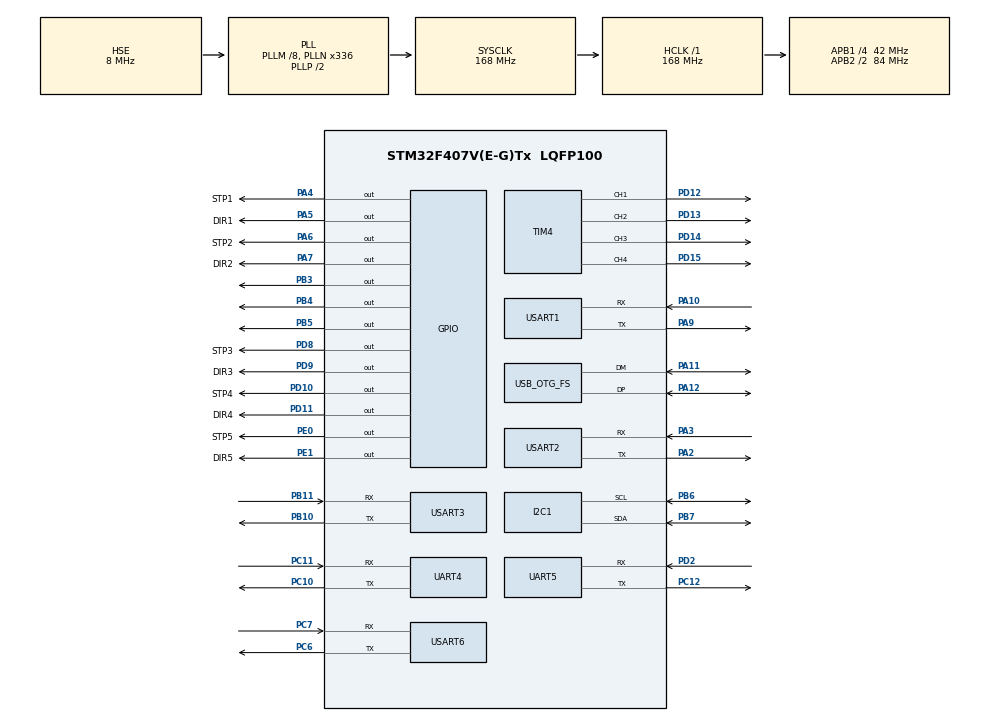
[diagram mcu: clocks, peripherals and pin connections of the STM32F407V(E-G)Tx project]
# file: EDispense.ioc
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Dma.Request0=USART1_RX
Dma.Request1=USART1_TX
Dma.Request2=USART6_RX
Dma.Request3=USART6_TX
Dma.USART1_RX.0.Direction=DMA_PERIPH_TO_MEMORY
Dma.USART1_RX.0.FIFOMode=DMA_FIFOMODE_DISABLE
Dma.USART1_RX.0.Instance=DMA2_Stream2
Dma.USART1_RX.0.MemDataAlignment=DMA_MDATAALIGN_BYTE
Dma.USART1_RX.0.MemInc=DMA_MINC_ENABLE
Dma.USART1_RX.0.Mode=DMA_NORMAL
Dma.USART1_RX.0.PeriphDataAlignment=DMA_PDATAALIGN_BYTE
Dma.USART1_RX.0.PeriphInc=DMA_PINC_DISABLE
Dma.USART1_RX.0.Priority=DMA_PRIORITY_LOW
Dma.USART1_TX.1.Direction=DMA_MEMORY_TO_PERIPH
Dma.USART1_TX.1.FIFOMode=DMA_FIFOMODE_DISABLE
Dma.USART1_TX.1.Instance=DMA2_Stream7
Dma.USART1_TX.1.MemDataAlignment=DMA_MDATAALIGN_BYTE
Dma.USART1_TX.1.MemInc=DMA_MINC_ENABLE
Dma.USART1_TX.1.Mode=DMA_NORMAL
Dma.USART1_TX.1.PeriphDataAlignment=DMA_PDATAALIGN_BYTE
Dma.USART1_TX.1.PeriphInc=DMA_PINC_DISABLE
Dma.USART1_TX.1.Priority=DMA_PRIORITY_LOW
Dma.USART6_RX.2.Direction=DMA_PERIPH_TO_MEMORY
Dma.USART6_RX.2.FIFOMode=DMA_FIFOMODE_DISABLE
Dma.USART6_RX.2.Instance=DMA2_Stream1
Dma.USART6_RX.2.MemDataAlignment=DMA_MDATAALIGN_BYTE
Dma.USART6_RX.2.MemInc=DMA_MINC_ENABLE
Dma.USART6_RX.2.Mode=DMA_NORMAL
Dma.USART6_RX.2.PeriphDataAlignment=DMA_PDATAALIGN_BYTE
Dma.USART6_RX.2.PeriphInc=DMA_PINC_DISABLE
Dma.USART6_RX.2.Priority=DMA_PRIORITY_LOW
Dma.USART6_TX.3.Direction=DMA_MEMORY_TO_PERIPH
Dma.USART6_TX.3.FIFOMode=DMA_FIFOMODE_DISABLE
Dma.USART6_TX.3.Instance=DMA2_Stream6
Dma.USART6_TX.3.MemDataAlignment=DMA_MDATAALIGN_BYTE
Dma.USART6_TX.3.MemInc=DMA_MINC_ENABLE
Dma.USART6_TX.3.Mode=DMA_NORMAL
Dma.USART6_TX.3.PeriphDataAlignment=DMA_PDATAALIGN_BYTE
Dma.USART6_TX.3.PeriphInc=DMA_PINC_DISABLE
Dma.USART6_TX.3.Priority=DMA_PRIORITY_LOW
FREERTOS.Queues01=CoreXY_Queue,4,uint16_t,0,Dynamic,NULL,NULL
FREERTOS.Tasks01=Task_UI,0,512,StartDefaultTask,Default,NULL,Dynamic,NULL,NULL;Task_CoreXY,-3,256,StartTask02,Default,NULL,Dynamic,NULL,NULL;TASK_Z_Axis,-3,128,StartTask03,Default,NULL,Dynamic,NULL,NULL;Task_Squeeze,-3,128,StartTask04,Default,NULL,Dynamic,NULL,NULL
Mcu.Family=STM32F4
Mcu.Name=STM32F407V(E-G)Tx
Mcu.Package=LQFP100
NVIC.DMA2_Stream1_IRQn=true\:5\:0\:false\:false\:true\:true\:false\:true\:true
NVIC.DMA2_Stream2_IRQn=true\:5\:0\:false\:false\:true\:true\:false\:true\:true
NVIC.DMA2_Stream6_IRQn=true\:5\:0\:false\:false\:true\:true\:false\:true\:true
NVIC.DMA2_Stream7_IRQn=true\:5\:0\:false\:false\:true\:true\:false\:true\:true
NVIC.OTG_FS_IRQn=true\:5\:0\:false\:false\:true\:true\:false\:true\:true
NVIC.PriorityGroup=NVIC_PRIORITYGROUP_4
NVIC.TIM6_DAC_IRQn=true\:15\:0\:false\:false\:true\:false\:false\:true\:true
NVIC.TIM8_CC_IRQn=true\:5\:0\:false\:false\:true\:true\:true\:true\:true
NVIC.TimeBase=TIM6_DAC_IRQn
NVIC.TimeBaseIP=TIM6
NVIC.USART1_IRQn=true\:5\:0\:false\:false\:true\:true\:true\:true\:true
NVIC.USART2_IRQn=true\:5\:0\:false\:false\:true\:true\:true\:true\:true
PA10.Mode=Asynchronous
PA10.Signal=USART1_RX
PA11.Mode=Device_Only
PA11.Signal=USB_OTG_FS_DM
PA12.Mode=Device_Only
PA12.Signal=USB_OTG_FS_DP
PA13.Mode=Serial_Wire
PA13.Signal=SYS_JTMS-SWDIO
PA14.Mode=Serial_Wire
PA14.Signal=SYS_JTCK-SWCLK
PA2.Mode=Asynchronous
PA2.Signal=USART2_TX
PA3.Mode=Asynchronous
PA3.Signal=USART2_RX
PA4.GPIO_Label=STP1
PA4.Signal=GPIO_Output
PA5.GPIO_Label=DIR1
PA5.Signal=GPIO_Output
PA6.GPIO_Label=STP2
PA6.Signal=GPIO_Output
PA7.GPIO_Label=DIR2
PA7.Signal=GPIO_Output
PA9.Mode=Asynchronous
PA9.Signal=USART1_TX
PB10.Mode=Asynchronous
PB10.Signal=USART3_TX
PB11.Mode=Asynchronous
PB11.Signal=USART3_RX
PB3.Signal=GPIO_Output
PB4.Signal=GPIO_Output
PB5.Signal=GPIO_Output
PB6.Mode=I2C
PB6.Signal=I2C1_SCL
PB7.Mode=I2C
PB7.Signal=I2C1_SDA
PC10.Mode=Asynchronous
PC10.Signal=UART4_TX
PC11.Mode=Asynchronous
PC11.Signal=UART4_RX
PC12.Mode=Asynchronous
PC12.Signal=UART5_TX
PC6.Mode=Asynchronous
PC6.Signal=USART6_TX
PC7.Mode=Asynchronous
PC7.Signal=USART6_RX
PD10.GPIO_Label=STP4
PD10.Signal=GPIO_Output
PD11.GPIO_Label=DIR4
PD11.Signal=GPIO_Output
PD12.Signal=S_TIM4_CH1
PD13.Signal=S_TIM4_CH2
PD14.Signal=S_TIM4_CH3
PD15.Signal=S_TIM4_CH4
PD2.Mode=Asynchronous
PD2.Signal=UART5_RX
PD8.GPIO_Label=STP3
PD8.Signal=GPIO_Output
PD9.GPIO_Label=DIR3
PD9.Signal=GPIO_Output
PE0.GPIO_Label=STP5
PE0.Signal=GPIO_Output
PE1.GPIO_Label=DIR5
PE1.Signal=GPIO_Output
PH0-OSC_IN.Mode=HSE-External-Oscillator
PH0-OSC_IN.Signal=RCC_OSC_IN
PH1-OSC_OUT.Mode=HSE-External-Oscillator
PH1-OSC_OUT.Signal=RCC_OSC_OUT
ProjectManager.HeapSize=0x200
ProjectManager.StackSize=0x400
ProjectManager.TargetToolchain=CMake
RCC.48MHZClocksFreq_Value=48000000
RCC.AHBFreq_Value=168000000
RCC.APB1CLKDivider=RCC_HCLK_DIV4
RCC.APB1Freq_Value=42000000
RCC.APB1TimFreq_Value=84000000
RCC.APB2CLKDivider=RCC_HCLK_DIV2
RCC.APB2Freq_Value=84000000
RCC.APB2TimFreq_Value=168000000
RCC.CortexFreq_Value=168000000
RCC.HCLKFreq_Value=168000000
RCC.HSE_VALUE=8000000
RCC.HSI_VALUE=16000000
RCC.LSE_VALUE=32768
RCC.PLLM=8
RCC.PLLN=336
RCC.PLLQ=7
RCC.SYSCLKFreq_VALUE=168000000
RCC.SYSCLKSource=RCC_SYSCLKSOURCE_PLLCLK
RCC.VCOOutputFreq_Value=336000000
SH.S_TIM4_CH1.0=TIM4_CH1,PWM Generation1 CH1
SH.S_TIM4_CH2.0=TIM4_CH2,PWM Generation2 CH2
SH.S_TIM4_CH3.0=TIM4_CH3,PWM Generation3 CH3
SH.S_TIM4_CH4.0=TIM4_CH4,PWM Generation4 CH4
TIM10.Channel=TIM_CHANNEL_1
TIM10.Prescaler=168-1
TIM4.Channel-PWM\ Generation1\ CH1=TIM_CHANNEL_1
TIM4.Channel-PWM\ Generation2\ CH2=TIM_CHANNEL_2
TIM4.Channel-PWM\ Generation3\ CH3=TIM_CHANNEL_3
TIM4.Channel-PWM\ Generation4\ CH4=TIM_CHANNEL_4
TIM8.Channel-Output\ Compare1\ No\ Output=TIM_CHANNEL_1
TIM8.Channel-Output\ Compare2\ No\ Output=TIM_CHANNEL_2
TIM8.Channel-Output\ Compare3\ No\ Output=TIM_CHANNEL_3
TIM8.Channel-Output\ Compare4\ No\ Output=TIM_CHANNEL_4
TIM8.Prescaler=168-1
UART4.VirtualMode=Asynchronous
UART5.VirtualMode=Asynchronous
USART1.VirtualMode=VM_ASYNC
USART2.VirtualMode=VM_ASYNC
USART3.VirtualMode=VM_ASYNC
USART6.VirtualMode=VM_ASYNC
USB_DEVICE.CLASS_NAME_FS=CDC
USB_DEVICE.VirtualMode-CDC_FS=Cdc
USB_DEVICE.VirtualModeFS=Cdc_FS
USB_OTG_FS.VirtualMode=Device_Only
VP_FREERTOS_VS_CMSIS_V1.Mode=CMSIS_V1
VP_SYS_VS_tim6.Mode=TIM6
VP_TIM10_VS_ClockSourceINT.Mode=Enable_Timer
VP_TIM10_VS_no_output1.Mode=Output Compare1 No Output
VP_TIM8_VS_no_output1.Mode=Output Compare1 No Output
VP_TIM8_VS_no_output2.Mode=Output Compare2 No Output
VP_TIM8_VS_no_output3.Mode=Output Compare3 No Output
VP_TIM8_VS_no_output4.Mode=Output Compare4 No Output
VP_USB_DEVICE_VS_USB_DEVICE_CDC_FS.Mode=CDC_FS
board=custom

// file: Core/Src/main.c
/* USER CODE BEGIN Header */
/**
  ******************************************************************************
  * @file           : main.c
  * @brief          : Main program body
  ******************************************************************************
  * @attention
  *
  * Copyright (c) 2026 STMicroelectronics.
  * All rights reserved.
  *
  * This software is licensed under terms that can be found in the LICENSE file
  * in the root directory of this software component.
  * If no LICENSE file comes with this software, it is provided AS-IS.
  *
  ******************************************************************************
  */
/* USER CODE END Header */
#include "main.h"
#include "cmsis_os.h"
#include "dma.h"
#include "i2c.h"
#include "tim.h"
#include "usart.h"
#include "usb_device.h"
#include "gpio.h"

/* USER CODE BEGIN Includes */
#include "usbd_cdc_if.h"
#include "Stepper.h"
#include "TJC.h"        // 串口屏
#include <stdio.h>      // sscanf
#include <string.h>
#include <stdlib.h>     // atoi 函数解析激光距离
/* USER CODE END Includes */

/* USER CODE BEGIN PD */
#define one_div_sqrt_2 0.7071067811865f   // 1/根号2
/* USER CODE END PD */

/* USER CODE BEGIN PV */
Stepper stepper1 = {0}; // X轴电机
Stepper stepper2 = {0}; // Y轴电机
Stepper stepper3 = {0}; // Z轴电机
Stepper stepper4 = {0}; // 挤锡电机
Stepper stepper5 = {0}; // 预留
uint8_t RxBuffer[50] = {0}; // 串口屏不定长数据缓冲区
uint8_t RxBuffer2[50] = {0}; // RK3588不定长数据缓冲区
extern DMA_HandleTypeDef hdma_usart1_rx; // DMA 句柄
extern DMA_HandleTypeDef hdma_usart2_rx; // DMA 句柄
extern DMA_HandleTypeDef hdma_usart6_rx; // DMA 句柄
uint8_t laser_rx_buf[50] = {0}; // 激光测距接收缓冲区
uint32_t laser_dis = 0; // 激光测距当前距离
uint8_t vofa_rx_byte = 0; // UART2可靠接收缓冲区

// --- 状态机 & 作业变量 ---
volatile SystemState_t g_SystemState = STATE_IDLE;
volatile AutoCycleSubState_t g_AutoCycleSubState = CYCLE_START;
SolderJob_t g_CurrentJob;
volatile uint8_t g_NewJobReceived = 0;

// 激光Z轴标定
float g_LaserCalibrationOffset = 0.0f; // 由标定命令设置

// --- 坐标变量 ---
float device_x = 0;         // 软件记录的绝对X坐标
float device_y = 0;         // 软件记录的绝对Y坐标
/* USER CODE END PV */

void SystemClock_Config(void);
void MX_FREERTOS_Init(void);
/* USER CODE BEGIN PFP */
void delta_dis_transform(float delta_x, float delta_y, float* motor_delta_x, float* motor_delta_y);
void Get_Real_Position(float *real_x, float *real_y);
void move_axis_to(float target_x, float target_y);
void Send_RK3588_Ack(uint8_t cmd_id, uint8_t payload); // 发送ACK到RK3588
void Laser_Dis_Update(void);           // 激光测距更新
void Send_Telemetry_To_Vofa(float x, float y, uint32_t z, uint8_t state);
void Send_Log_To_Vofa(const char* msg);
/* USER CODE END PFP */

/* USER CODE BEGIN 0 */

/**
 * @brief CoreXY 正向运动学变换
 */
void delta_dis_transform(float delta_x, float delta_y, float* motor_delta_x, float* motor_delta_y){
	*motor_delta_x = (delta_x - delta_y) * one_div_sqrt_2;
	*motor_delta_y = (delta_x + delta_y) * one_div_sqrt_2;
}

/**
 * @brief CoreXY 逆向运动学: 获取实际坐标位置
 */
// ============================================================
// 步进电机运动参数 (加速度 accel / 目标速度 tagv), 每电机独立可调
// 传入 StpDistanceSetBlocking(stepper, distance, accel, tagv) 的后两参
// ============================================================
float g_x_accel = 800.0f;       // X轴(stepper1) 加速度
float g_x_speed = 1600.0f;      // X轴(stepper1) 目标速度
float g_y_accel = 800.0f;       // Y轴(stepper2) 加速度
float g_y_speed = 1600.0f;      // Y轴(stepper2) 目标速度
float g_z_accel = 500.0f;       // Z轴(stepper3) 加速度
float g_z_speed = 500.0f;       // Z轴(stepper3) 目标速度
float g_squeeze_accel = 800.0f; // 挤锡(stepper4) 加速度
float g_squeeze_speed = 1200.0f;  // 挤锡(stepper4) 目标速度

// 绝对零点校准偏移: 默认(0,0)→上电显示工作原点; 校准后标定当前位置为(-360,-360)
float g_calib_off1 = 0.0f;
float g_calib_off2 = 0.0f;
void Get_Real_Position(float *real_x, float *real_y) {
    float m1_phys = -(stepper1.position_ctnow * stepper1.stepangle);
    float m2_phys = -(stepper2.position_ctnow * stepper2.stepangle);

    float m1_rel = m1_phys - g_calib_off1;
    float m2_rel = m2_phys - g_calib_off2;

    *real_x = (m1_rel + m2_rel) * one_div_sqrt_2;
    *real_y = (m2_rel - m1_rel) * one_div_sqrt_2;
}

/**
 * @brief 移动到绝对坐标
 */
void move_axis_to(float target_x, float target_y){
    if(target_x > 2475.0f) target_x = 2475.0f; else if(target_x < 0) target_x = 0;
    if(target_y > 2475.0f) target_y = 2475.0f; else if(target_y < 0) target_y = 0;

    float current_x, current_y;
    Get_Real_Position(&current_x, &current_y);

    float delta_x = target_x - current_x;
    float delta_y = target_y - current_y;

    device_x = target_x;
    device_y = target_y;

    float motor_move_x, motor_move_y;
    delta_dis_transform(delta_x, delta_y, &motor_move_x, &motor_move_y);

    StpDistanceSetBlocking(&stepper1, motor_move_x, g_x_accel, g_x_speed);
    StpDistanceSetBlocking(&stepper2, motor_move_y, g_y_accel, g_y_speed);
}

/**
 * @brief  使用激光传感器将Z轴(stepper3)精确下降到目标高度
 * @param  target_height_mm PCB上方的目标最终高度(mm)
 */
void Move_Z_Axis_To_Height(float target_height_mm) {
    uint32_t timeout_start = HAL_GetTick();
    const float TOLERANCE = 0.5f; // 目标误差0.5mm以内停止

    while (HAL_GetTick() - timeout_start < 15000) { // 15秒超时
        float current_dis = (float)laser_dis;

        if (current_dis < 10.0f) { // 传感器安全检查
            Stepper_Stop(&stepper3);
            return;
        }

        // 计算误差(需要移动的距离)
        float error = current_dis - target_height_mm;

        // 1. 到位检查
        if (error <= TOLERANCE && error >= -TOLERANCE) {
            Stepper_Stop(&stepper3);
            return;
        }

        float move_step = 0.0f;
        uint32_t speed = 800; // 较快的基础速度

        // 2. 逻辑: 若当前距离160,目标120,
        // 误差+40,需要向下移动(负方向)

        if (error > 10.0f) {
            move_step = 8.0f;  // 远: 向下移动8mm
            speed = 1200;       // 高速
        }
        else if (error > 2.0f) {
            move_step = 2.0f;  // 接近: 向下移动2mm
            speed = 600;
        }
        else if (error > 0.0f) {
            move_step = 0.5f;  // 很接近: 向下移动0.5mm
            speed = 300;
        }
        else if (error < -10.0f) {
            move_step = -8.0f;   // 过低: 向上移动8mm
            speed = 1200;
        }
        else if (error < -2.0f) {
            move_step = -2.0f;   // 过低: 向上移动2mm
            speed = 600;
        }
        else if (error < 0.0f) {
            move_step = -0.5f;   // 很接近: 向上移动0.5mm
            speed = 300;
        }

        // 执行移动
        // 阻塞模式: 等待8mm或0.5mm移动完成后才返回
        // 注: 此处为激光闭环自适应定位, accel按误差动态变档(300~1200), 不使用全局g_z_accel
        StpDistanceSetBlocking(&stepper3, move_step, speed, g_z_speed);

        // 给激光传感器一点时间稳定,消除移动振动影响
        osDelay(10);
    }

    Stepper_Stop(&stepper3);
}

/**
 * @brief 将Z轴缩回到安全高度
 */
void Retract_Z_Axis(void) {
    // 假设正值向上移动,上移10mm
    StpDistanceSetBlocking(&stepper3, 10.0f, g_z_accel, g_z_speed);
}

/**
 * @brief 驱动挤锡电机(stepper4)进行指定次数的挤压
 * @param count 挤压次数
 */
void Squeeze_Solder(uint16_t count) {
    // 单次挤压的微动距离
    const float SQUEEZE_DISPENSE_AMOUNT_MM = -150.0f; // 根据实际调整
    const float SQUEEZE_RETRACT_AMOUNT_MM = 143.0f; // 轻微回抽防止漏锡

    for (uint16_t i = 0; i < count; i++) {
        // 假设正值挤出
        StpDistanceSetBlocking(&stepper4, SQUEEZE_DISPENSE_AMOUNT_MM, g_squeeze_accel, g_squeeze_speed);
        while(IFMOVING(stepper4.motor_state)) osDelay(20); // 短暂暂停;
        StpDistanceSetBlocking(&stepper4, SQUEEZE_RETRACT_AMOUNT_MM, g_squeeze_accel, g_squeeze_speed);
    }
}

/* USER CODE END 0 */

int main(void)
{

  /* MCU Configuration--------------------------------------------------------*/

  /* Reset of all peripherals, Initializes the Flash interface and the Systick. */
  HAL_Init();

  /* Configure the system clock */
  SystemClock_Config();

  /* Initialize all configured peripherals */
  MX_GPIO_Init();
  MX_DMA_Init();
  MX_I2C1_Init();
  MX_TIM4_Init();
  MX_TIM8_Init();
  MX_TIM10_Init();
  MX_UART4_Init();
  MX_UART5_Init();
  MX_USART1_UART_Init();
  MX_USART2_UART_Init();
  MX_USART3_UART_Init();
  MX_USART6_UART_Init();
  /* USER CODE BEGIN 2 */
	// 启动步进控制相关定时器
	HAL_TIM_Base_Start_IT(&htim8);
	HAL_TIM_Base_Start_IT(&htim10);
	// STP1: DIR->PA5 STP->PA4 USE_TIMER TIM8_CHANNEL1
	Init_Stepper(&stepper1,DIR1_GPIO_Port,DIR1_Pin,STP1_GPIO_Port,STP1_Pin,&htim8,TIM_CHANNEL_1,0.1125f);
	// STP2: DIR->PA7 STP->PA6 USE_TIMER TIM8_CHANNEL2
	Init_Stepper(&stepper2,DIR2_GPIO_Port,DIR2_Pin,STP2_GPIO_Port,STP2_Pin,&htim8,TIM_CHANNEL_2,0.1125f);
	// STP3: DIR->PD9 STP->PD8 USE_TIMER TIM8_CHANNEL3
	Init_Stepper(&stepper3,DIR3_GPIO_Port,DIR3_Pin,STP3_GPIO_Port,STP3_Pin,&htim8,TIM_CHANNEL_3,0.1125f);
	// STP4: DIR->PD10 STP->PD10 USE_TIMER TIM8_CHANNEL4
	Init_Stepper(&stepper4,DIR4_GPIO_Port,DIR4_Pin,STP4_GPIO_Port,STP4_Pin,&htim8,TIM_CHANNEL_4,0.1125f);
	// STP5: DIR->PE1 STP->PE0 USE_TIMER TIM10_CHANNEL1
	Init_Stepper(&stepper5,DIR5_GPIO_Port,DIR5_Pin,STP5_GPIO_Port,STP5_Pin,&htim10,TIM_CHANNEL_1,0.1125f);

	// 启动不定长数据接收
	HAL_UARTEx_ReceiveToIdle_DMA(&huart1,RxBuffer,50);
	__HAL_DMA_DISABLE_IT(&hdma_usart1_rx, DMA_IT_HT); //关闭过半中断

	  // 2. Start RK3588/Vofa+ Reception (UART2)
	HAL_UART_Receive_IT(&huart2, &vofa_rx_byte, 1);

	// 3. Start Laser Sensor Reception (UART6)
	HAL_UARTEx_ReceiveToIdle_DMA(&huart6, laser_rx_buf, 50);
	__HAL_DMA_DISABLE_IT(&hdma_usart6_rx, DMA_IT_HT);

    TJC_Init(&huart1); // 初始化串口屏

    #warning "暂时注释掉初始电机复位，测试USB"
    // HAL_Delay(10000); // 等待系统稳定
    //
    // // Y轴初始移动到起始点
    // StpDistanceSetBlocking(&stepper2, 500.0f, 450.0f, 200.0f);
    //
    // // 等待运动完成
    // while(IFMOVING(stepper2.motor_state)) {
    //     HAL_Delay(10);
    // }

    // 同步坐标
    device_x = 0.0f;
    device_y = 0.0f;
  /* USER CODE END 2 */

  /* Call init function for freertos objects (in cmsis_os2.c) */
  MX_FREERTOS_Init();

  /* Start scheduler */
  osKernelStart();

  /* We should never get here as control is now taken by the scheduler */

  /* Infinite loop */
  /* USER CODE BEGIN WHILE */
  uint32_t last_ui_tick = 0;

  while (1)
  {

    /* USER CODE END WHILE */

  }
}

void SystemClock_Config(void)
{
  RCC_OscInitTypeDef RCC_OscInitStruct = {0};
  RCC_ClkInitTypeDef RCC_ClkInitStruct = {0};

  /** Configure the main internal regulator output voltage
  */
  __HAL_RCC_PWR_CLK_ENABLE();
  __HAL_PWR_VOLTAGESCALING_CONFIG(PWR_REGULATOR_VOLTAGE_SCALE1);

  /** Initializes the RCC Oscillators according to the specified parameters
  * in the RCC_OscInitTypeDef structure.
  */
  RCC_OscInitStruct.OscillatorType = RCC_OSCILLATORTYPE_HSE;
  RCC_OscInitStruct.HSEState = RCC_HSE_ON;
  RCC_OscInitStruct.PLL.PLLState = RCC_PLL_ON;
  RCC_OscInitStruct.PLL.PLLSource = RCC_PLLSOURCE_HSE;
  RCC_OscInitStruct.PLL.PLLM = 8;
  RCC_OscInitStruct.PLL.PLLN = 336;
  RCC_OscInitStruct.PLL.PLLP = RCC_PLLP_DIV2;
  RCC_OscInitStruct.PLL.PLLQ = 7;
  if (HAL_RCC_OscConfig(&RCC_OscInitStruct) != HAL_OK)
  {
    Error_Handler();
  }

  /** Initializes the CPU, AHB and APB buses clocks
  */
  RCC_ClkInitStruct.ClockType = RCC_CLOCKTYPE_HCLK|RCC_CLOCKTYPE_SYSCLK
                              |RCC_CLOCKTYPE_PCLK1|RCC_CLOCKTYPE_PCLK2;
  RCC_ClkInitStruct.SYSCLKSource = RCC_SYSCLKSOURCE_PLLCLK;
  RCC_ClkInitStruct.AHBCLKDivider = RCC_SYSCLK_DIV1;
  RCC_ClkInitStruct.APB1CLKDivider = RCC_HCLK_DIV4;
  RCC_ClkInitStruct.APB2CLKDivider = RCC_HCLK_DIV2;

  if (HAL_RCC_ClockConfig(&RCC_ClkInitStruct, FLASH_LATENCY_5) != HAL_OK)
  {
    Error_Handler();
  }
}

/* USER CODE BEGIN 4 */
volatile uint8_t g_TJC_Status_Update = 0;
volatile uint8_t g_AckPending = 0;

// --- VOFA/RK3588 状态机 ---
static uint8_t vofa_step = 0;
static uint8_t vofa_cmd = 0;
static uint8_t vofa_len = 0;
static uint8_t vofa_payload[20]; // 最大payload长度为20字节
static uint8_t vofa_cnt = 0;
static uint8_t vofa_sum = 0;

void Vofa_RxCallback(uint8_t rx_data) {
    switch (vofa_step) {
        case 0: if (rx_data == 0xBB) vofa_step = 1; break;
        case 1:
            if (rx_data == 0x66) vofa_step = 2;
            else if (rx_data == 0xBB) vofa_step = 1; // 如果是连续BB则保持
            else vofa_step = 0;
            break;
        case 2:
            vofa_cmd = rx_data; vofa_sum = rx_data; vofa_step = 3; break;
        case 3:
            vofa_len = rx_data; vofa_sum += rx_data; vofa_cnt = 0;
            if (vofa_len > 20) { vofa_step = 0; break; } // 数组安全限制
            if (vofa_len > 0) vofa_step = 4;
            else vofa_step = 5;
            break;
        case 4:
            vofa_payload[vofa_cnt++] = rx_data; vofa_sum += rx_data;
            if (vofa_cnt >= vofa_len) vofa_step = 5;
            break;
        case 5:
            if (vofa_sum == rx_data) { // 校验和通过!
                if (vofa_cmd == 0xEE) {
                    g_SystemState = STATE_EMERGENCY_STOP;
                    Stepper_Stop(&stepper1); Stepper_Stop(&stepper2);
                    Stepper_Stop(&stepper3); Stepper_Stop(&stepper5);

                    g_TJC_Status_Update = 1; // 通知RTOS更新文本
                    g_AckPending = 0xEE;     // 通知RTOS发送ACK
                }
                else if (vofa_cmd == 0xFF) {
                    g_SystemState = STATE_IDLE;
                    g_NewJobReceived = 0;
                    TJC_TargetX = 0.0f; TJC_TargetY = 0.0f; TJC_MoveFlag = 1;

                    g_TJC_Status_Update = 2; // 通知RTOS清除文本
                    g_AckPending = 0xFF;     // 通知RTOS发送ACK
                }
                else if (vofa_cmd == 0x10 && vofa_len == 14) {
                    memcpy(&g_CurrentJob.target_x, &vofa_payload[0], 4);
                    memcpy(&g_CurrentJob.target_y, &vofa_payload[4], 4);
                    memcpy(&g_CurrentJob.target_z, &vofa_payload[8], 4);
                    memcpy(&g_CurrentJob.squeeze_count, &vofa_payload[12], 2);
                    g_NewJobReceived = 1;
                }
                else if (vofa_cmd == 0x20 && vofa_len == 4) {
                    memcpy(&g_LaserCalibrationOffset, &vofa_payload[0], 4);
                    g_AckPending = 0x80;
                }
            }
            vofa_step = 0;
            break;
    }
}

// -------------------------------------------------------------

// ============================================================
// USB CDC 调试协议 (复刻 TJC AA55 帧, 独立状态机, 与串口屏 TJC 并存)
// 下行帧: AA 55 | CMD | PAYLOAD | CHECKSUM(=cmd+payload各字节累加和 & 0xFF)
//   0x01 XY绝对移动 (int16 x, int16 y, 单位0.1mm)
//   0x02 急停
//   0x03 回零/解除急停
//   0x06 Z轴步进     (int16 steps, 正=上/负=下)
//   0x07 挤锡        (uint8 count)
// 上行帧:
//   0x10 状态(周期100ms): int16 x, int16 y, int16 z(激光), uint8 state(0空闲/1运动/2急停)
//   0x11 动作完成: uint8 cmd_id
// 注意: Z步进/挤锡为阻塞动作, 不在USB回调(中断上下文)执行, 仅置标志由 StartTask02 主任务执行
// ============================================================
// USB -> 主任务 的标志位 (供 freertos.c StartTask02 消费)
volatile uint8_t  g_UsbZMoveFlag   = 0;
volatile int16_t  g_UsbZSteps      = 0;
volatile uint8_t  g_UsbZHomeFlag   = 0;  // Z轴回零标志
volatile uint8_t  g_UsbSqueezeFlag = 0;
volatile uint8_t  g_UsbSqueezeCount= 0;

// 上行: 发送状态帧 0x10
void Send_USB_Status(int16_t x, int16_t y, int16_t z, int16_t laser, uint8_t state){
    uint8_t b[13];
    b[0]=0xAA; b[1]=0x55; b[2]=0x10;
    b[3]=(x>>8)&0xFF;     b[4]=x&0xFF;
    b[5]=(y>>8)&0xFF;     b[6]=y&0xFF;
    b[7]=(z>>8)&0xFF;     b[8]=z&0xFF;
    b[9]=(laser>>8)&0xFF; b[10]=laser&0xFF;
    b[11]=state;
    uint8_t sum=0; for(int i=2;i<12;i++) sum+=b[i];
    b[12]=sum;
    CDC_Transmit_FS(b, 13);
}

// 上行: 发送动作完成帧 0x11
void Send_USB_Done(uint8_t cmd_id){
    uint8_t b[5];
    b[0]=0xAA; b[1]=0x55; b[2]=0x11; b[3]=cmd_id;
    b[4]=(0x11+cmd_id)&0xFF;
    CDC_Transmit_FS(b, 5);
}

// USB 命令处理: CDC天然整包接收, 直接索引解析 (帧: AA 55 | CMD | PAYLOAD | SUM)
void USB_Data_Process_Callback(uint8_t* Buf, uint32_t *Len){
    uint32_t n = Len[0];
    if(n < 4) return;                       // 最短帧 AA 55 CMD SUM = 4字节
    if(Buf[0]!=0xAA || Buf[1]!=0x55) return; // 帧头校验
    uint8_t id = Buf[2];
    uint8_t need;                            // payload长度
    if(id==0x01)      need=4;
    else if(id==0x06) need=2;
    else if(id==0x07) need=1;
    else if(id==0x08) need=6;
    else              need=0;                // 0x02/0x03
    if(n < (uint32_t)(3+need+1)) return;     // 帧长不足
    uint8_t* p = &Buf[3];                    // payload起始
    // 累加和校验: cmd + payload
    uint8_t sum = id;
    for(uint8_t i=0;i<need;i++) sum += p[i];
    if(sum != Buf[3+need]) return;           // 校验失败丢弃

    switch(id){
        case 0x01:  // XY绝对移动 (复用TJC全局变量)
            if(g_SystemState!=STATE_EMERGENCY_STOP){
                int16_t ix=(int16_t)((p[0]<<8)|p[1]);
                int16_t iy=(int16_t)((p[2]<<8)|p[3]);
                TJC_TargetX=(float)ix/10.0f;
                TJC_TargetY=(float)iy/10.0f;
                TJC_MoveFlag=1;
            }
            break;
        case 0x02:  // 急停
            g_SystemState=STATE_EMERGENCY_STOP;
            Stepper_Stop(&stepper1); Stepper_Stop(&stepper2);
            Stepper_Stop(&stepper3); Stepper_Stop(&stepper5);
            break;
        case 0x03:  // 回零/解除急停: XY回(0,0) + Z回0
            if(g_SystemState==STATE_EMERGENCY_STOP) g_SystemState=STATE_IDLE;
            TJC_TargetX=0; TJC_TargetY=0; TJC_MoveFlag=1;
            g_UsbZHomeFlag=1;
            break;
        case 0x06:  // Z轴步进 (置标志, 主任务执行)
            if(g_SystemState!=STATE_EMERGENCY_STOP){
                g_UsbZSteps=(int16_t)((p[0]<<8)|p[1]);
                g_UsbZMoveFlag=1;
            }
            break;
        case 0x07:  // 挤锡 (置标志, 主任务执行)
            if(g_SystemState!=STATE_EMERGENCY_STOP){
                g_UsbSqueezeCount=p[0];
                g_UsbSqueezeFlag=1;
            }
            break;
        case 0x08:  // XYZ联动移动: 一帧同时置XY+Z标志, 三轴并发启动(同0x03回零机制)
            if(g_SystemState!=STATE_EMERGENCY_STOP){
                int16_t ix=(int16_t)((p[0]<<8)|p[1]);
                int16_t iy=(int16_t)((p[2]<<8)|p[3]);
                TJC_TargetX=(float)ix/10.0f;
                TJC_TargetY=(float)iy/10.0f;
                TJC_MoveFlag=1;                          // XY (复用0x01路径)
                g_UsbZSteps=(int16_t)((p[4]<<8)|p[5]);
                g_UsbZMoveFlag=1;                        // Z步进 (复用0x06路径)
            }
            break;
        case 0x09:  // 绝对零点校准: 将当前物理位置标定为(-254.56,-254.56)工作坐标
            {        // off1=m1_phys, off2=m2_phys+360 → real_x=real_y=-360/√2=-254.56. 不移动电机
                float m1_phys=-(stepper1.position_ctnow*stepper1.stepangle);
                float m2_phys=-(stepper2.position_ctnow*stepper2.stepangle);
                g_calib_off1=m1_phys;
                g_calib_off2=m2_phys+360.0f;
            }
            break;
    }
}

// 步进电机OC中断回调
void HAL_TIM_OC_DelayElapsedCallback(TIM_HandleTypeDef *htim)
{
	if (htim == &htim8  && htim->Channel == HAL_TIM_ACTIVE_CHANNEL_1) StepperInOC(&stepper1);
	if (htim == &htim8  && htim->Channel == HAL_TIM_ACTIVE_CHANNEL_2) StepperInOC(&stepper2);
	if (htim == &htim8  && htim->Channel == HAL_TIM_ACTIVE_CHANNEL_3) StepperInOC(&stepper3);
	if (htim == &htim8  && htim->Channel == HAL_TIM_ACTIVE_CHANNEL_4) StepperInOC(&stepper4);
	if (htim == &htim10 && htim->Channel == HAL_TIM_ACTIVE_CHANNEL_1) StepperInOC(&stepper5);
}

// 封装一个向 RK3588 发送状态反馈的函数
void Send_RK3588_Ack(uint8_t cmd_id, uint8_t payload) {
    uint8_t tx_buf[6];
    tx_buf[0] = 0xBB; // 帧头
    tx_buf[1] = 0x66;
    tx_buf[2] = cmd_id; // 反馈ID
    tx_buf[3] = 0x01;   // 长度 1 字节
    tx_buf[4] = payload;
    tx_buf[5] = tx_buf[2] + tx_buf[3] + tx_buf[4]; // 校验和
    HAL_UART_Transmit(&huart2, tx_buf, 6, 20);
}

// 1. UART2 专用回调 (不受步进电机超限错误影响!)
void HAL_UART_RxCpltCallback(UART_HandleTypeDef *huart) {
    if (huart->Instance == USART2) {
        Vofa_RxCallback(vofa_rx_byte); // 发送字节到状态机

        // 重新使能中断以立即捕获下一个字节
        HAL_UART_Receive_IT(&huart2, &vofa_rx_byte, 1);
    }
}

// 2. IDLE DMA CALLBACK FOR UART1 and UART6
void HAL_UARTEx_RxEventCallback(UART_HandleTypeDef *huart, uint16_t Size){

    // --- 1. TJC Screen on UART1 ---
    if(huart->Instance == USART1){
        uint8_t temp_buf[50];
        memcpy(temp_buf, RxBuffer, Size);
        HAL_UARTEx_ReceiveToIdle_DMA(&huart1, RxBuffer, 50);
        __HAL_DMA_DISABLE_IT(&hdma_usart1_rx, DMA_IT_HT);

        for(uint16_t i = 0; i < Size; i++) TJC_RxCallback(temp_buf[i]);
    }

    // --- 3. Laser Sensor on UART6 ---
    if(huart->Instance == USART6) {
        laser_rx_buf[Size < 50 ? Size : 49] = '\0';
        Laser_Dis_Update();

        HAL_UARTEx_ReceiveToIdle_DMA(&huart6, laser_rx_buf, 50);
	    __HAL_DMA_DISABLE_IT(&hdma_usart6_rx, DMA_IT_HT);
    }
}

// --- 滤波后的激光测距更新 ---
void Laser_Dis_Update(void) {
    char *ptr = strstr((char *)laser_rx_buf, "nd: ");
    if (ptr == NULL) ptr = strstr((char *)laser_rx_buf, "d: ");

    if (ptr != NULL) {
        int offset = (strncmp(ptr, "nd: ", 4) == 0) ? 4 : 3;
        int32_t dist = atoi(ptr + offset);

        if (dist > 0) {
            // 简易软件低通滤波 (指数移动平均)
            if (laser_dis == 0) laser_dis = (uint32_t)dist;
            else laser_dis = (laser_dis * 3 + (uint32_t)dist) / 4;
        }
    }
}

// 发送激光数据到 Vofa+ (UART2)
void Send_Telemetry_To_Vofa(float x, float y, uint32_t z, uint8_t state) {
    char tx_buf[64];
    // 格式完全匹配 FireWater: "data:ch0,ch1,ch2,ch3\n"
    int len = snprintf(tx_buf, sizeof(tx_buf), "data:%.1f,%.1f,%lu,%d\n", x, y, z, state);
    HAL_UART_Transmit(&huart2, (uint8_t*)tx_buf, len, 20);
}

// --- 文本日志记录 ---
void Send_Log_To_Vofa(const char* msg) {
    char tx_buf[64];
    int len = snprintf(tx_buf, sizeof(tx_buf), "log:%s\n", msg);
    HAL_UART_Transmit(&huart2, (uint8_t*)tx_buf, len, 20);
}

/* USER CODE END 4 */

void HAL_TIM_PeriodElapsedCallback(TIM_HandleTypeDef *htim)
{
  if (htim->Instance == TIM6)
  {
    HAL_IncTick();
  }
}

void Error_Handler(void)
{
  __disable_irq();
  while (1)
  {
  }
}

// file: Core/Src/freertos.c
/* USER CODE BEGIN Header */
/**
  ******************************************************************************
  * File Name          : freertos.c
  * Description        : Code for freertos applications
  ******************************************************************************
  * @attention
  *
  * Copyright (c) 2026 STMicroelectronics.
  * All rights reserved.
  *
  * This software is licensed under terms that can be found in the LICENSE file
  * in the root directory of this software component.
  * If no LICENSE file comes with this software, it is provided AS-IS.
  *
  ******************************************************************************
  */
/* USER CODE END Header */

#include "FreeRTOS.h"
#include "task.h"
#include "main.h"
#include "cmsis_os.h"

/* USER CODE BEGIN Includes */
#include "Stepper.h"
#include "TJC.h"
#include <stdio.h>      // sprintf需要
#include <string.h>     // strlen需要
/* USER CODE END Includes */

/* USER CODE BEGIN Variables */
extern Stepper stepper1;
extern Stepper stepper2;

extern UART_HandleTypeDef huart1; // <--- ADD THIS LINE
extern UART_HandleTypeDef huart2; // <--- ADD THIS LINE (You will need this for Send_RK3588_Ack)

extern volatile SystemState_t g_SystemState;
extern volatile AutoCycleSubState_t g_AutoCycleSubState;
extern SolderJob_t g_CurrentJob;
extern volatile uint8_t g_NewJobReceived;
extern volatile uint32_t laser_dis;
/* USER CODE END Variables */
osThreadId Task_UIHandle;
osThreadId Task_CoreXYHandle;
osThreadId TASK_Z_AxisHandle;
osThreadId Task_SqueezeHandle;
osMessageQId CoreXY_QueueHandle;

/* USER CODE BEGIN FunctionPrototypes */
extern void Get_Real_Position(float *real_x, float *real_y);
extern void move_axis_to(float target_x, float target_y);

extern void Move_Z_Axis_To_Height(float target_height_mm);
extern void Squeeze_Solder(uint16_t count);
extern void Retract_Z_Axis(void);
extern void Send_RK3588_Ack(uint8_t cmd_id, uint8_t payload);
extern void Send_Telemetry_To_Vofa(float x, float y, uint32_t z, uint8_t state);
extern void Send_Log_To_Vofa(const char* msg);
// USB CDC 调试通信 (定义在 main.c)
extern void Send_USB_Status(int16_t x, int16_t y, int16_t z, int16_t laser, uint8_t state);
extern void Send_USB_Done(uint8_t cmd_id);
// 步进电机运动参数 (定义在 main.c)
extern float g_z_accel;
extern float g_z_speed;
extern Stepper stepper3;
extern Stepper stepper4;
extern volatile uint32_t laser_dis;
extern volatile uint8_t  g_UsbZMoveFlag;
extern volatile int16_t  g_UsbZSteps;
extern volatile uint8_t  g_UsbZHomeFlag;
extern volatile uint8_t  g_UsbSqueezeFlag;
extern volatile uint8_t  g_UsbSqueezeCount;
/* USER CODE END FunctionPrototypes */

void StartDefaultTask(void const * argument);
void StartTask02(void const * argument);
void StartTask03(void const * argument);
void StartTask04(void const * argument);

extern void MX_USB_DEVICE_Init(void);
void MX_FREERTOS_Init(void); /* (MISRA C 2004 rule 8.1) */

/* GetIdleTaskMemory prototype (linked to static allocation support) */
void vApplicationGetIdleTaskMemory( StaticTask_t **ppxIdleTaskTCBBuffer, StackType_t **ppxIdleTaskStackBuffer, uint32_t *pulIdleTaskStackSize );

/* USER CODE BEGIN GET_IDLE_TASK_MEMORY */
static StaticTask_t xIdleTaskTCBBuffer;
static StackType_t xIdleStack[configMINIMAL_STACK_SIZE];

void vApplicationGetIdleTaskMemory( StaticTask_t **ppxIdleTaskTCBBuffer, StackType_t **ppxIdleTaskStackBuffer, uint32_t *pulIdleTaskStackSize )
{
  *ppxIdleTaskTCBBuffer = &xIdleTaskTCBBuffer;
  *ppxIdleTaskStackBuffer = &xIdleStack[0];
  *pulIdleTaskStackSize = configMINIMAL_STACK_SIZE;
  /* place for user code */
}
/* USER CODE END GET_IDLE_TASK_MEMORY */

void MX_FREERTOS_Init(void) {

  /* Create the queue(s) */
  /* definition and creation of CoreXY_Queue */
  osMessageQDef(CoreXY_Queue, 4, uint16_t);
  CoreXY_QueueHandle = osMessageCreate(osMessageQ(CoreXY_Queue), NULL);

  /* Create the thread(s) */
  /* definition and creation of Task_UI */
  osThreadDef(Task_UI, StartDefaultTask, osPriorityNormal, 0, 512);
  Task_UIHandle = osThreadCreate(osThread(Task_UI), NULL);

  /* definition and creation of Task_CoreXY */
  osThreadDef(Task_CoreXY, StartTask02, osPriorityIdle, 0, 256);
  Task_CoreXYHandle = osThreadCreate(osThread(Task_CoreXY), NULL);

  /* definition and creation of TASK_Z_Axis */
  osThreadDef(TASK_Z_Axis, StartTask03, osPriorityIdle, 0, 128);
  TASK_Z_AxisHandle = osThreadCreate(osThread(TASK_Z_Axis), NULL);

  /* definition and creation of Task_Squeeze */
  osThreadDef(Task_Squeeze, StartTask04, osPriorityIdle, 0, 128);
  Task_SqueezeHandle = osThreadCreate(osThread(Task_Squeeze), NULL);

}

void StartDefaultTask(void const * argument)
{
  /* init code for USB_DEVICE */
  MX_USB_DEVICE_Init();
  /* USER CODE BEGIN StartDefaultTask */
  uint32_t tick_count = 0; // 100ms间隔计数器

  /* Infinite loop */
  for(;;)
  {
      float real_x, real_y;
      Get_Real_Position(&real_x, &real_y);

      // 运动状态: 需统计所有执行轴(XY + Z + 挤锡), 否则单动Z/挤锡时状态会误报为空闲
      uint8_t is_moving = IFMOVING(stepper1.motor_state) || IFMOVING(stepper2.motor_state)
                       || IFMOVING(stepper3.motor_state) || IFMOVING(stepper4.motor_state);

       // 1. 绘制路径轨迹 (安全的)
      TJC_ProcessUI(real_x, real_y, is_moving);

      // 2. 中断请求时安全更新屏幕文本
      if (g_TJC_Status_Update == 1) {
          g_TJC_Status_Update = 0;
          char buf[64];
          sprintf(buf, "main.t_status.txt=\"EMERGENCY STOPPED !\"\xff\xff\xff");
          HAL_UART_Transmit(&huart1, (uint8_t*)buf, strlen(buf), 20);
          sprintf(buf, "debug.t_status.txt=\"EMERGENCY STOPPED !\"\xff\xff\xff");
          HAL_UART_Transmit(&huart1, (uint8_t*)buf, strlen(buf), 20);
      } else if (g_TJC_Status_Update == 2) {
          g_TJC_Status_Update = 0;
          char buf[64];
          sprintf(buf, "main.t_status.txt=\"\"\xff\xff\xff");
          HAL_UART_Transmit(&huart1, (uint8_t*)buf, strlen(buf), 20);
          sprintf(buf, "debug.t_status.txt=\"\"\xff\xff\xff");
          HAL_UART_Transmit(&huart1, (uint8_t*)buf, strlen(buf), 20);
      }

      // 3. 中断请求时安全发送RK3588应答
      if (g_AckPending != 0) {
          Send_RK3588_Ack(g_AckPending, 0x01);
          g_AckPending = 0;
      }

      // 4. 发送激光测距数据
      if (++tick_count >= 2) {
          Send_Telemetry_To_Vofa(real_x, real_y, laser_dis, g_SystemState);
          tick_count = 0;
      }
      // ---------------------------------------------------------------

      // 5. USB CDC 状态帧 0x10 (每100ms): 坐标(0.1mm) + 激光 + 状态映射
      //    state: 0=空闲, 1=运动中, 2=急停
      {
          uint8_t usb_state;
          if (g_SystemState == STATE_EMERGENCY_STOP) usb_state = 2;
          else if (is_moving)                        usb_state = 1;
          else                                       usb_state = 0;
          Send_USB_Status((int16_t)(real_x * 10.0f),
                          (int16_t)(real_y * 10.0f),
                          (int16_t)(-(stepper3.stepangle * stepper3.position_ctnow) * 10.0f),
                          (int16_t)laser_dis,
                          usb_state);
      }

      // FreeRTOS 延时
      osDelay(50);
  }
  /* USER CODE END StartDefaultTask */
}

void StartTask02(void const * argument)
{
  /* USER CODE BEGIN StartTask02 */
  /* Infinite loop */
  for(;;)
  {
    switch (g_SystemState)
    {
        case STATE_IDLE:
            // 检查是否有来自TJC串口屏的命令(调试移动)
            if (TJC_MoveFlag) {
                TJC_MoveFlag = 0;
                g_SystemState = STATE_DEBUG_MOVE;
            }
            // USB调试: Z轴步进 (阻塞动作, 主任务执行)
            else if (g_UsbZMoveFlag) {
                g_UsbZMoveFlag = 0;
                // Z轴软限位 [0, 950]°: 向下为正方向, 超界则裁剪实际步进量
                float cur_z = -(stepper3.stepangle * stepper3.position_ctnow);  // Z坐标,向下为正
                float target_z = cur_z + (float)g_UsbZSteps;
                if (target_z < 0.0f)        target_z = 0.0f;
                else if (target_z > 950.0f) target_z = 950.0f;
                float actual = target_z - cur_z;
                if (actual != 0.0f) StpDistanceSetBlocking(&stepper3, actual, g_z_accel, g_z_speed);
                Send_USB_Done(0x06);
            }
            // USB调试: Z轴回零 (回到0°)
            else if (g_UsbZHomeFlag) {
                g_UsbZHomeFlag = 0;
                float back = stepper3.stepangle * stepper3.position_ctnow;  // 回到ctnow=0
                if (back != 0.0f) StpDistanceSetBlocking(&stepper3, back, g_z_accel, g_z_speed);
                Send_USB_Done(0x03);
            }
            // USB调试: 挤锡 (阻塞动作, 主任务执行)
            else if (g_UsbSqueezeFlag) {
                g_UsbSqueezeFlag = 0;
                Squeeze_Solder(g_UsbSqueezeCount);
                Send_USB_Done(0x07);
            }
            // 检查是否有来自RK3588的新作业
            else if (g_NewJobReceived) {
                g_NewJobReceived = 0;
                g_AutoCycleSubState = CYCLE_START; // 重置子状态
                g_SystemState = STATE_AUTO_CYCLE;
				Send_Log_To_Vofa("Starting Cycle"); // 调试日志
                // 发送ACK给RK3588
            }
            break;

        case STATE_DEBUG_MOVE:
            move_axis_to(TJC_TargetX, TJC_TargetY);
            Send_USB_Done(0x01); // USB调试: XY移动到位完成通知
            g_SystemState = STATE_IDLE; // 运动完成后返回空闲状态
            break;

        case STATE_AUTO_CYCLE:
            switch(g_AutoCycleSubState)
            {
                case CYCLE_START:
                    g_AutoCycleSubState = CYCLE_MOVING_XY;
                    break;
                case CYCLE_MOVING_XY:
                    move_axis_to(g_CurrentJob.target_x, g_CurrentJob.target_y);
                    // 安全防护: 急停在运动中触发, 立即中止!
                    if (g_SystemState == STATE_EMERGENCY_STOP) break;

                    g_AutoCycleSubState = CYCLE_LOWERING_Z;
				    Send_RK3588_Ack(0x81, 0x02);
                    break;
                case CYCLE_LOWERING_Z:
                    Move_Z_Axis_To_Height(g_CurrentJob.target_z);
                    if (g_SystemState == STATE_EMERGENCY_STOP) break;

                    g_AutoCycleSubState = CYCLE_SQUEEZING;
                    break;
                case CYCLE_SQUEEZING:
                    Squeeze_Solder(g_CurrentJob.squeeze_count);
                    if (g_SystemState == STATE_EMERGENCY_STOP) break;

                    g_AutoCycleSubState = CYCLE_RETRACTING_Z;
                    break;
                case CYCLE_RETRACTING_Z:
                    Retract_Z_Axis();
                    if (g_SystemState == STATE_EMERGENCY_STOP) break;

                    g_AutoCycleSubState = CYCLE_COMPLETE;
                    break;
                case CYCLE_COMPLETE:
                    Send_RK3588_Ack(0x81, 0x02); // 原有二进制应答

                    // 发送人类可读日志到 Vofa+
                    char log_msg[50];
                    sprintf(log_msg, "Job OK X:%.1f Y:%.1f Z:%.1f",
                            g_CurrentJob.target_x, g_CurrentJob.target_y, g_CurrentJob.target_z);
                    Send_Log_To_Vofa(log_msg);

                    g_SystemState = STATE_IDLE;
                    break;
            }
            break;

        case STATE_CALIBRATING_Z:
            // 此状态由 vofa+ 命令进入
            // 在 vofa+ 命令解析器中设置 g_LaserCalibrationOffset
            // 目前仅等待新命令改变状态
            break;

        case STATE_EMERGENCY_STOP:
            // 此状态下机器不做任何事
            // 只能通过 RK3588/TJC 的"复位"命令退出
            break;

    }
    osDelay(20); // Main control loop delay
  }
  /* USER CODE END StartTask02 */
}

void StartTask03(void const * argument)
{
  for(;;)
  {
    osDelay(1);
  }
}

void StartTask04(void const * argument)
{
  for(;;)
  {
    osDelay(1);
  }
}
